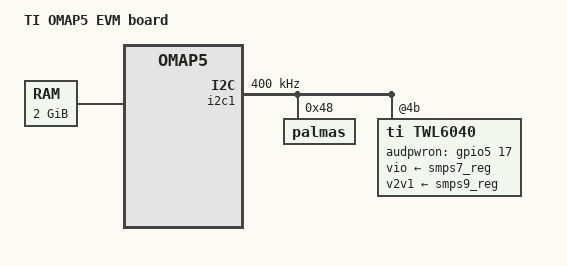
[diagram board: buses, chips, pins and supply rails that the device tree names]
/*
 * Copyright (C) 2012 Texas Instruments Incorporated - http://www.ti.com/
 *
 * This program is free software; you can redistribute it and/or modify
 * it under the terms of the GNU General Public License version 2 as
 * published by the Free Software Foundation.
 */
/dts-v1/;

/include/ "omap5.dtsi"

/ {
	model = "TI OMAP5 EVM board";
	compatible = "ti,omap5-evm", "ti,omap5";

	memory {
		device_type = "memory";
		reg = <0x80000000 0x80000000>; /* 2 GB */
	};

	sound {
		compatible = "ti,abe-twl6040";
		ti,model = "OMAP5-sEVM";

		ti,jack-detection = <1>;
		ti,mclk-freq = <19200000>;

		ti,mcpdm = <&mcpdm>;
		ti,dmic = <&dmic>;

		ti,twl6040 = <&twl6040>;

		/* Audio routing */
		ti,audio-routing =
			"Headset Stereophone", "HSOL",
			"Headset Stereophone", "HSOR",
			"Earphone Spk", "EP",
			"Ext Spk", "HFL",
			"Ext Spk", "HFR",
			"Line Out", "AUXL",
			"Line Out", "AUXR",
			"HSMIC", "Headset Mic",
			"Headset Mic", "Headset Mic Bias",
			"MAINMIC", "Main Handset Mic",
			"Main Handset Mic", "Main Mic Bias",
			"SUBMIC", "Sub Handset Mic",
			"Sub Handset Mic", "Main Mic Bias",
			"AFML", "Line In",
			"AFMR", "Line In",
			"DMic", "Digital Mic",
			"Digital Mic", "Digital Mic1 Bias";
	};
};

&i2c1 {
	clock-frequency = <400000>;

	palmas: palmas@48 {
		reg = <0x48>;
		/* SPI = 0, IRQ# = 7, 4 = active high level-sensitive */
		interrupts = <0 7 4>; /* IRQ_SYS_1N cascaded to gic */
		interrupt-parent = <&gic>;
	};

	twl6040: twl@4b {
		compatible = "ti,twl6040";

		interrupts = <0 119 4>; /* IRQ_SYS_2N cascaded to gic */
		interrupt-parent = <&gic>;
		ti,audpwron-gpio = <&gpio5 17 0>;  /* gpio line 145 */

		vio-supply = <&smps7_reg>;
		v2v1-supply = <&smps9_reg>;
		enable-active-high;
	};
};

&pad_core_mux {
	pinctrl-names = "default";
	pinctrl-0 = <&audio_core_pin>;

	audio_core_pin: audio_core_pins {
				/* TRM offset - 0x40, bits, mask */
		pinctrl-single,bits = <0x142 0x0400 0x041f>, /* ABE_CLKS */
				      <0x15c 0x0400 0x041f>, /* ABEMCPDM_UL_DATA */
				      <0x15e 0x0000 0x041f>, /* ABEMCPDM_DL_DATA */
				      <0x160 0x0400 0x041f>, /* ABEMCPDM_FRAME */
				      <0x162 0x0000 0x041f>, /* ABEMCPDM_LB_CLK */
				      <0x18a 0x000e 0x041f>; /* GPIO5 145 */
	};
};

&pad_wkup_mux {
	pinctrl-names = "default";
	pinctrl-0 = <&audio_wkup_pin>;

	audio_wkup_pin: audio_wkup_pins {
				/* TRM offset - 0x40, bits, mask */
		pinctrl-single,bits = <0x2a 0x0400 0x041f>; /* SYS_NIRQ2 */
	};
};

/include/ "palmas.dtsi"
/include/ "twl6040.dtsi"
